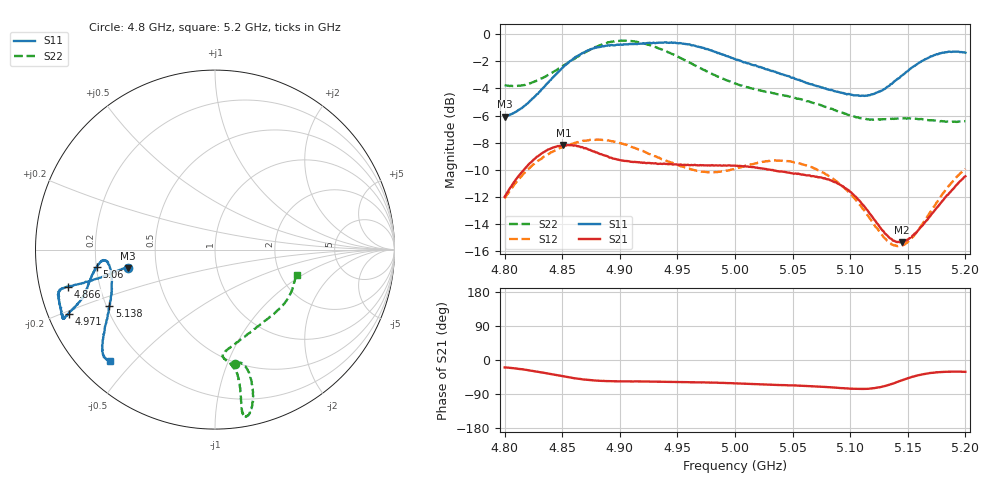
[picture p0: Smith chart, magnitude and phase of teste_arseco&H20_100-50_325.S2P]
! Network Analyzer HP8722D
! Hewlett-Packard
! Data name: Linha & Wilkinson
! Saver's name: Rodrigo Anjos
! Comments: Teste da utilização de aquisição
! continua pelo VNA HP8722D
! Time and date: 6/5/2025 15:16
!  Frequency  S11  S21  S12  S22
# HZ  S  MA R 50
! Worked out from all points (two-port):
!   401 points, 4.8 GHz to 5.2 GHz, reference 50 ohm
!   highest |S21| = -8.16 dB at 4.851 GHz (marker M1); lowest = -15.3 dB at 5.145 GHz (marker M2)
!   |S21| within 3 dB of the highest: 4.806 GHz to 5.093 GHz (286.4 MHz wide, 5.79 % of centre); 5.191712 GHz to end of sweep
!   lowest |S11| = -6.1 dB at 4.8 GHz (marker M3), VSWR 2.97, Z = 17 - j4.61 ohm
!   |S11| at or under -10 dB: nowhere
!   |S22| runs from -6.5 to -0.5 dB; largest |S21 - S12| = 0.62
!   S11 on the Smith chart (normalised r, x): 4.8 GHz: 0.34, -0.09; 4.866 GHz: 0.09, -0.12; 4.971 GHz: 0.06, -0.21; 5.06 GHz: 0.20, -0.07; 5.138 GHz: 0.21, -0.24; 5.2 GHz: 0.09, -0.43
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4.8e9  0.4968 -168.1  0.2516 -19.6  0.2483 -140.9  0.6487 -80.2
4.823e9  0.5711 -167.5  0.3374 -28.2  0.325 -143.7  0.6602 -76.0
4.851e9  0.7557 -165.7  0.3907 -43.3  0.3846 -149.2  0.7646 -74.5
4.866e9  0.8429 -165.8  0.3835 -50.2  0.4021 -151.8  0.8375 -75.3
4.867e9  0.8488 -165.9  0.3839 -50.8  0.4025 -151.9  0.8431 -75.4
4.881e9  0.8935 -165.3  0.3649 -54.6  0.409 -154.3  0.9021 -77.0
4.9e9  0.9131 -162.5  0.3436 -56.3  0.397 -156.4  0.9433 -79.0
4.914e9  0.9189 -159.6  0.338 -56.5  0.3789 -157.0  0.9373 -80.2
4.934e9  0.9294 -156.4  0.3329 -57.4  0.351 -155.6  0.8836 -80.5
4.971e9  0.891 -156.2  0.3288 -59.3  0.3116 -146.5  0.745 -79.6
5e9  0.8086 -158.9  0.328 -61.8  0.3195 -137.1  0.6574 -81.3
5.036e9  0.7215 -165.6  0.3136 -65.9  0.3422 -134.4  0.6014 -85.7
5.06e9  0.6659 -171.5  0.3033 -68.2  0.3303 -136.1  0.5706 -84.3
5.067e9  0.6533 -172.9  0.3001 -69.0  0.3234 -136.7  0.5592 -82.7
5.087e9  0.6154 -174.5  0.2848 -73.0  0.2892 -138.5  0.5246 -74.8
5.103e9  0.5949 -171.5  0.2561 -76.0  0.2506 -138.6  0.4977 -65.1
5.116e9  0.5959 -165.4  0.2216 -75.9  0.2128 -135.5  0.4849 -55.8
5.134e9  0.6444 -154.3  0.178 -65.3  0.1708 -120.8  0.4863 -43.4
5.138e9  0.6673 -151.8  0.1735 -61.3  0.1669 -115.6  0.4868 -40.9
5.145e9  0.7039 -148.2  0.1713 -53.5  0.1666 -106.2  0.4888 -37.0
5.174e9  0.8379 -138.5  0.2269 -32.8  0.2357 -80.4  0.4803 -23.8
5.2e9  0.853 -133.5  0.2997 -31.2  0.319 -76.8  0.4778 -17.5
